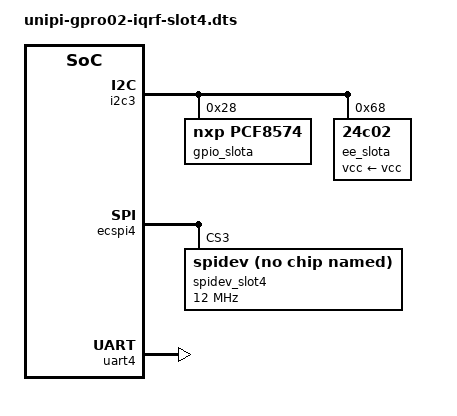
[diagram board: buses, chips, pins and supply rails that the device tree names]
// SPDX-License-Identifier: (GPL-2.0+ OR MIT)
/*
 * Device Tree fragment for Unipi Gate PRO IQRF board, v0.3
 *
 * Copyright 2021 Faster CZ, spol. s r.o.
 *
 * IQRF card is in slot A.
 */

/dts-v1/;
/plugin/;

/ {
	fragment@0 {
		target = <&i2c3>;
		__overlay__ {
       		#address-cells = <1>;
	    	#size-cells = <0>;

	        gpio_slota: pca9501@28 {
        		compatible = "nxp,pcf8574";
		        gpio-controller;
        		#gpio-cells = <2>;
		        reg = <0x28>;
        	    gpio-line-names = "SLOT4_IQRF_POWER",
		        	  "SLOT4_IQRF_PGM",
        			  "SLOT4_IQRF_BUS",
		        	  "","","","","";
	        };

            ee_slota@68 {
                compatible = "24c02";
                reg = <0x68>;
                vcc-supply = <&vcc>;
            };
		};
	};

	fragment@1 {
		target = <&ecspi4>;
		__overlay__ {
	        status = "okay";
       		#address-cells = <1>;
	    	#size-cells = <0>;

			spidev_slot4: spi@3 {
                compatible = "nanopi,spidev";
                reg = <3>;
                status = "okay";
                spi-max-frequency = <12000000>;
            };
		};
	};

	fragment@2 {
		target = <&uart4>;
		__overlay__ {
        	status = "okay";
		};
	};
};

